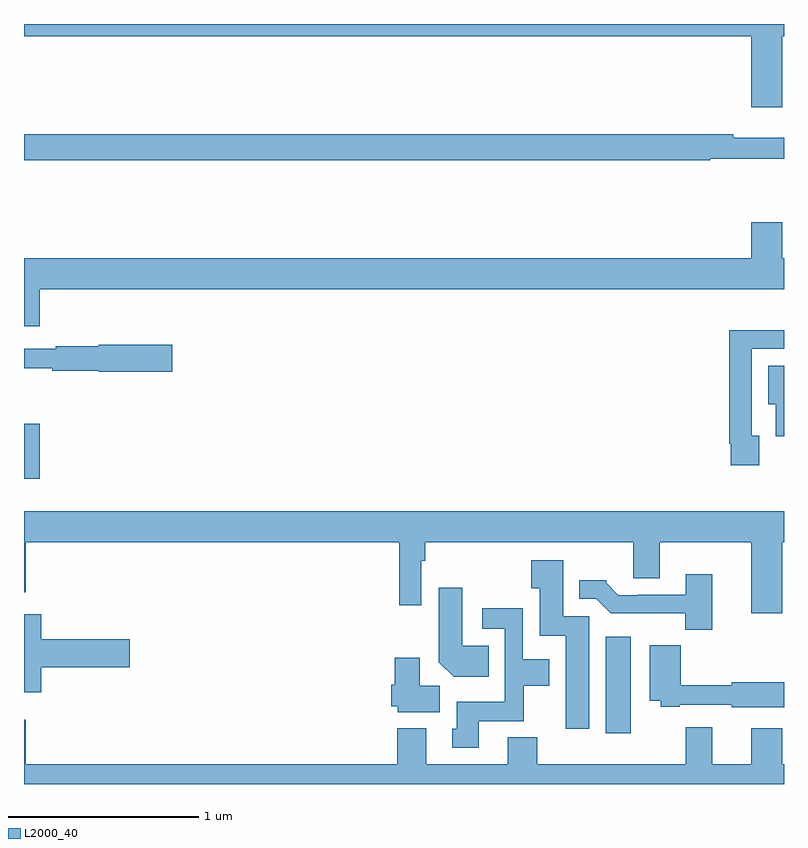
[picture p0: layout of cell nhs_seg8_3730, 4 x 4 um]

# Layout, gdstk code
import gdstk
lib = gdstk.Library(unit=1e-6, precision=1e-09)
def R(c, l, rs):  # rectangles x0, y0, x1, y1
    for r in rs: c.add(gdstk.rectangle(r[:2], r[2:], *l))
def P(c, l, *ps):  # polygons
    for p in ps: c.add(gdstk.Polygon(p, *l))
L2000_40 = (2000, 40)

nhs_seg8_3730 = lib.new_cell('nhs_seg8_3730')
R(nhs_seg8_3730, L2000_40, [(344.063,1110.168,344.194,1110.676), (341,1111.506,341.084,1111.795)])
P(nhs_seg8_3730, L2000_40, [(344.992,1113.836),(345,1113.836),(345,1113.9),(341,1113.9),(341,1113.836),(344.828,1113.836),(344.828,1113.462),(344.992,1113.462)],
  [(344.612,1113.192),(345,1113.192),(345,1113.301),(344.732,1113.301),(344.732,1113.32),(341,1113.32),(341,1113.184),(344.612,1113.184)],
  [(341.084,1112.504),(345,1112.504),(345,1112.668),(344.992,1112.668),(344.992,1112.857),(344.828,1112.857),(344.828,1112.668),(341,1112.668),(341,1112.31),(341.084,1112.31)],
  [(344.869,1111.734),(344.829,1111.734),(344.829,1112.19),(345,1112.19),(345,1112.288),(344.713,1112.288),(344.713,1111.69),(344.721,1111.69),(344.721,1111.578),(344.869,1111.578)],
  [(341.779,1112.211),(341.394,1112.211),(341.394,1112.203),(341.167,1112.203),(341.167,1112.19),(341,1112.19),(341,1112.089),(341.148,1112.089),(341.148,1112.074),(341.394,1112.074),(341.394,1112.069),(341.779,1112.069)],
  [(345,1112.101),(344.918,1112.101),(344.918,1111.898),(344.957,1111.898),(344.957,1111.73),(345,1111.73)],
  [(344.992,1111.172),(345,1111.172),(345,1111.336),(341,1111.336),(341,1110.909),(341.009,1110.909),(341.009,1111.172),(342.976,1111.172),(342.976,1110.84),(343.092,1110.84),(343.092,1111.076),(343.112,1111.076),(343.112,1111.172),(344.207,1111.172),(344.207,1110.982),(344.347,1110.982),(344.347,1111.172),(344.828,1111.172),(344.828,1110.798),(344.992,1110.798)],
  [(343.975,1110.783),(343.837,1110.783),(343.837,1111.078),(343.669,1111.078),(343.669,1110.931),(343.715,1110.931),(343.715,1110.68),(343.85,1110.68),(343.85,1110.192),(343.975,1110.192)],
  [(344.623,1111.003),(344.483,1111.003),(344.483,1110.897),(344.227,1110.897),(344.227,1110.894),(344.128,1110.894),(344.064,1110.958),(344.064,1110.973),(343.922,1110.973),(343.922,1110.876),(344.013,1110.876),(344.089,1110.8),(344.481,1110.8),(344.481,1110.713),(344.623,1110.713)],
  [(343.445,1110.628),(343.306,1110.628),(343.306,1110.934),(343.184,1110.934),(343.184,1110.542),(343.262,1110.464),(343.445,1110.464)],
  [(343.393,1110.23),(343.629,1110.23),(343.629,1110.416),(343.765,1110.416),(343.765,1110.556),(343.626,1110.556),(343.626,1110.826),(343.413,1110.826),(343.413,1110.717),(343.53,1110.717),(343.53,1110.334),(343.277,1110.334),(343.277,1110.192),(343.253,1110.192),(343.253,1110.09),(343.393,1110.09)],
  [(341.092,1110.515),(341.557,1110.515),(341.557,1110.662),(341.092,1110.662),(341.092,1110.793),(341,1110.793),(341,1110.383),(341.092,1110.383)],
  [(345,1110.435),(344.724,1110.435),(344.724,1110.419),(344.456,1110.419),(344.456,1110.631),(344.294,1110.631),(344.294,1110.338),(344.352,1110.338),(344.352,1110.306),(344.452,1110.306),(344.452,1110.318),(344.724,1110.318),(344.724,1110.305),(345,1110.305)],
  [(343.189,1110.416),(343.084,1110.416),(343.084,1110.565),(342.95,1110.565),(342.95,1110.423),(342.932,1110.423),(342.932,1110.309),(342.966,1110.309),(342.966,1110.278),(343.189,1110.278)],
  [(345,1110.004),(344.992,1110.004),(344.992,1110.193),(344.828,1110.193),(344.828,1110.004),(344.623,1110.004),(344.623,1110.199),(344.483,1110.199),(344.483,1110.004),(343.7,1110.004),(343.7,1110.145),(343.547,1110.145),(343.547,1110.004),(343.117,1110.004),(343.117,1110.193),(342.965,1110.193),(342.965,1110.004),(341.009,1110.004),(341.009,1110.238),(341,1110.238),(341,1109.9),(345,1109.9)])

lib.write_gds('nhs_seg8_3730.gds')
